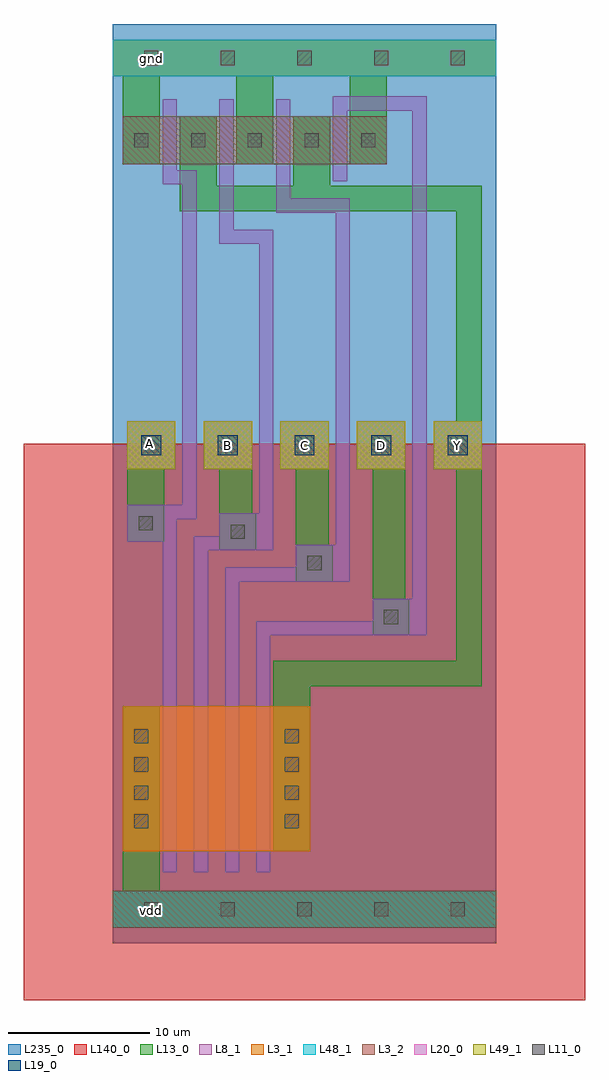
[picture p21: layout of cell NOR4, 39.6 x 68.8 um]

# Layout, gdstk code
import gdstk
lib = gdstk.Library(unit=1e-6, precision=1e-09)
def R(c, l, rs):  # rectangles x0, y0, x1, y1
    for r in rs: c.add(gdstk.rectangle(r[:2], r[2:], *l))
def A(c, l, x, y, w, h, nx, ny, dx, dy):  # array of equal rectangles
    R(c, l, [(x+i*dx, y+j*dy, x+i*dx+w, y+j*dy+h) for i in range(nx) for j in range(ny)])
def P(c, l, *ps):  # polygons
    for p in ps: c.add(gdstk.Polygon(p, *l))
L3_1 = (3, 1)
L3_2 = (3, 2)
L8_1 = (8, 1)
L11_0 = (11, 0)
L13_0 = (13, 0)
L19_0 = (19, 0)
L20_0 = (20, 0)
L48_1 = (48, 1)
L49_1 = (49, 1)
L140_0 = (140, 0)
L235_0 = (235, 0)

nor4 = lib.new_cell('NOR4')
R(nor4, L3_1, [(0.7,-58.3,13.9,-48.1), (0,-3.7,27,-1.1)])
R(nor4, L3_2, [(0,-63.7,27,-61.1), (0.7,-9.9,19.3,-6.5)])
P(nor4, L8_1, [(3.5,-59.8),(3.5,-36.5),(1,-36.5),(1,-33.9),(4.9,-33.9),(4.9,-11.3),(3.5,-11.3),(3.5,-5.3),(4.5,-5.3),(4.5,-10.3),(5.9,-10.3),(5.9,-34.9),(4.5,-34.9),(4.5,-59.8)],
  [(5.7,-59.8),(5.7,-36.1),(7.5,-36.1),(7.5,-34.5),(10.3,-34.5),(10.3,-15.5),(7.5,-15.5),(7.5,-5.3),(8.5,-5.3),(8.5,-14.5),(11.3,-14.5),(11.3,-37.1),(6.7,-37.1),(6.7,-59.8)],
  [(7.9,-59.8),(7.9,-38.3),(12.9,-38.3),(12.9,-36.7),(15.7,-36.7),(15.7,-13.3),(11.5,-13.3),(11.5,-5.3),(12.5,-5.3),(12.5,-12.3),(16.7,-12.3),(16.7,-39.3),(8.9,-39.3),(8.9,-59.8)],
  [(10.1,-59.8),(10.1,-42.1),(18.3,-42.1),(18.3,-40.5),(21.1,-40.5),(21.1,-6.1),(16.5,-6.1),(16.5,-11.1),(15.5,-11.1),(15.5,-5.1),(22.1,-5.1),(22.1,-43.1),(11.1,-43.1),(11.1,-59.8)])
A(nor4, L11_0, 7.6, -62.9, 1, 1, 4, 2, 5.4, 60)
A(nor4, L11_0, 1.5, -56.7, 1, 1, 1, 4, 0, 2)
A(nor4, L11_0, 12.1, -56.7, 1, 1, 1, 4, 0, 2)
A(nor4, L11_0, 1.5, -8.7, 1, 1, 5, 1, 4, 0)
R(nor4, L11_0, [(2.2,-62.9,3.2,-61.9), (2.2,-62.9,3.2,-61.9), (7.6,-62.9,8.6,-61.9), (7.6,-62.9,8.6,-61.9), (7.6,-62.9,8.6,-61.9), (19.1,-42.3,20.1,-41.3), (13.7,-38.5,14.7,-37.5), (8.3,-36.3,9.3,-35.3), (1.8,-35.7,2.8,-34.7), (2.2,-2.9,3.2,-1.9), (7.6,-2.9,8.6,-1.9)])
A(nor4, L13_0, 0.7, -9.9, 2.6, 6.2, 3, 1, 8, 0)
R(nor4, L13_0, [(0,-63.7,27,-61.1), (0.7,-61.1,3.3,-48.1), (0,-3.7,27,-1.1)])
P(nor4, L13_0, [(1,-36.5),(1,-28),(4.4,-28),(4.4,-31.4),(3.6,-31.4),(3.6,-36.5)],
  [(7.5,-37.1),(7.5,-31.4),(6.4,-31.4),(6.4,-28),(9.8,-28),(9.8,-34.5),(10.1,-34.5),(10.1,-37.1)],
  [(12.9,-39.3),(12.9,-31.4),(11.8,-31.4),(11.8,-28),(15.2,-28),(15.2,-36.7),(15.5,-36.7),(15.5,-39.3)],
  [(18.3,-43.1),(18.3,-31.4),(17.2,-31.4),(17.2,-28),(20.6,-28),(20.6,-40.5),(20.9,-40.5),(20.9,-43.1)],
  [(11.3,-58.3),(11.3,-44.9),(24.2,-44.9),(24.2,-31.4),(22.6,-31.4),(22.6,-28),(24.2,-28),(24.2,-13.2),(4.7,-13.2),(4.7,-6.5),(7.3,-6.5),(7.3,-11.4),(12.7,-11.4),(12.7,-6.5),(15.3,-6.5),(15.3,-11.4),(26,-11.4),(26,-46.7),(13.9,-46.7),(13.9,-58.3)])
A(nor4, L19_0, 2, -30.4, 1.4, 1.4, 5, 1, 5.4, 0)
A(nor4, L20_0, 1, -31.4, 3.4, 3.4, 5, 1, 5.4, 0)
R(nor4, L48_1, [(0,-63.7,27,-61.1), (0,-3.7,27,-1.1)])
A(nor4, L49_1, 1, -31.4, 3.4, 3.4, 5, 1, 5.4, 0)
R(nor4, L140_0, [(-6.3,-68.8,33.3,-29.6)])
R(nor4, L235_0, [(0,-64.8,27,0)])
nor4.add(gdstk.Label('gnd', (2.7,-2.4), layer=48, texttype=0))
nor4.add(gdstk.Label('vdd', (2.7,-62.5), layer=48, texttype=0))
nor4.add(gdstk.Label('Y', (24.3,-29.7), layer=49, texttype=0))
nor4.add(gdstk.Label('C', (13.5,-29.7), layer=49, texttype=0))
nor4.add(gdstk.Label('D', (18.9,-29.7), layer=49, texttype=0))
nor4.add(gdstk.Label('A', (2.6,-29.6), layer=49, texttype=0))
nor4.add(gdstk.Label('B', (8.1,-29.7), layer=49, texttype=0))

lib.write_gds('NOR4.gds')
